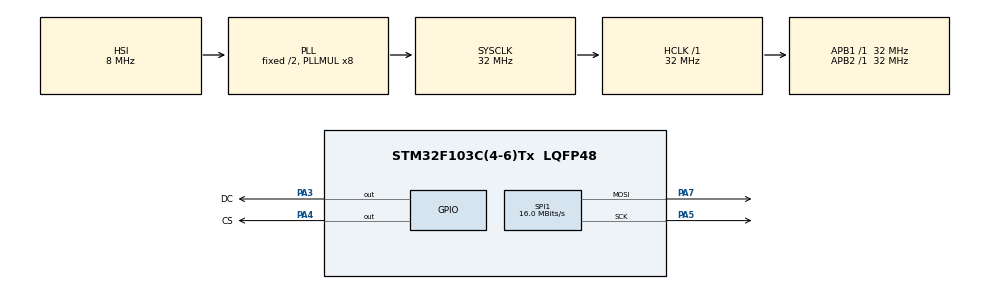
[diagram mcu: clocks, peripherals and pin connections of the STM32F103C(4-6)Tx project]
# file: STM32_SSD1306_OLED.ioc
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Mcu.Family=STM32F1
Mcu.Name=STM32F103C(4-6)Tx
Mcu.Package=LQFP48
NVIC.PriorityGroup=NVIC_PRIORITYGROUP_4
PA3.GPIO_Label=DC
PA3.Signal=GPIO_Output
PA4.GPIO_Label=CS
PA4.Signal=GPIO_Output
PA5.Mode=TX_Only_Simplex_Unidirect_Master
PA5.Signal=SPI1_SCK
PA7.Mode=TX_Only_Simplex_Unidirect_Master
PA7.Signal=SPI1_MOSI
ProjectManager.HeapSize=0x200
ProjectManager.StackSize=0x400
ProjectManager.TargetToolchain=STM32CubeIDE
RCC.AHBFreq_Value=32000000
RCC.APB1Freq_Value=32000000
RCC.APB1TimFreq_Value=32000000
RCC.APB2Freq_Value=32000000
RCC.APB2TimFreq_Value=32000000
RCC.HCLKFreq_Value=32000000
RCC.PLLMUL=RCC_PLL_MUL8
RCC.SYSCLKFreq_VALUE=32000000
RCC.SYSCLKSource=RCC_SYSCLKSOURCE_PLLCLK
RCC.USBFreq_Value=32000000
SPI1.CalculateBaudRate=16.0 MBits/s
SPI1.Direction=SPI_DIRECTION_2LINES
SPI1.Mode=SPI_MODE_MASTER
SPI1.VirtualType=VM_MASTER
VP_SYS_VS_ND.Mode=No_Debug
board=custom

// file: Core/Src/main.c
/* USER CODE BEGIN Header */
/**
  ******************************************************************************
  * @file           : main.c
  * @brief          : Main program body
  ******************************************************************************
  * @attention
  *
  * Copyright (c) 2024 STMicroelectronics.
  * All rights reserved.
  *
  * This software is licensed under terms that can be found in the LICENSE file
  * in the root directory of this software component.
  * If no LICENSE file comes with this software, it is provided AS-IS.
  *
  ******************************************************************************
  */
/* USER CODE END Header */
#include "main.h"

/* USER CODE BEGIN Includes */
#include "main.h"
#include "oled.h"
#include "test.h"
#include "horse_anim.h"
#include "stdio.h"
/* USER CODE END Includes */

SPI_HandleTypeDef hspi1;

void SystemClock_Config(void);
static void MX_GPIO_Init(void);
static void MX_SPI1_Init(void);

int main(void)
{

  /* USER CODE BEGIN 1 */
  char str[10];
  /* USER CODE END 1 */

  /* MCU Configuration--------------------------------------------------------*/

  /* Reset of all peripherals, Initializes the Flash interface and the Systick. */
  HAL_Init();

  /* Configure the system clock */
  SystemClock_Config();

  /* Initialize all configured peripherals */
  MX_GPIO_Init();
  MX_SPI1_Init();
  /* USER CODE BEGIN 2 */
  SSD1306_Init();

      SSD1306_GotoXY (0,0);
      SSD1306_Puts ("THE Embedded", &Font_7x10, 1);

      SSD1306_GotoXY (0, 10);
      SSD1306_Puts ("THINGS", &Font_7x10, 1);

      SSD1306_GotoXY (0, 30);
      SSD1306_Puts ("OLED Display", &Font_7x10, 1);

      SSD1306_GotoXY (0, 50);
      SSD1306_Puts ("LIKE && SUBSCRIBE", &Font_7x10, 1);
      SSD1306_UpdateScreen(); //display
      HAL_Delay(2000);

      SSD1306_ScrollRight(0,7);  // scroll entire screen
      HAL_Delay(2000);  // 2 sec
      SSD1306_ScrollLeft(0,7);  // scroll entire screen
      HAL_Delay(2000);  // 2 sec
      SSD1306_Stopscroll();
      SSD1306_ScrollRight(0x00, 0x0f);    // scroll entire screen right
      HAL_Delay (2000);
      SSD1306_ScrollLeft(0x00, 0x0f);  // scroll entire screen left
      HAL_Delay (2000);
      SSD1306_Scrolldiagright(0x00, 0x0f);  // scroll entire screen diagonal right
      HAL_Delay (2000);
      SSD1306_Scrolldiagleft(0x00, 0x0f);  // scroll entire screen diagonal left
      HAL_Delay (2000);
      SSD1306_Stopscroll();   // stop scrolling.

      SSD1306_InvertDisplay(1);   // invert the display
      HAL_Delay(2000);
      SSD1306_InvertDisplay(0);  // normalize the display
      HAL_Delay(2000);
      SSD1306_Clear();

          SSD1306_GotoXY (0,0);
      SSD1306_Puts ("count to 99", &Font_7x10, 1);
      SSD1306_UpdateScreen();

      for (int i=0; i<100;i++)
      {
      sprintf(str,"%i",i);
      SSD1306_GotoXY (10, 30);
      SSD1306_Puts (str, &Font_7x10, 1);
      SSD1306_UpdateScreen();
      HAL_Delay(100);
      }

      TestLines(1);
      HAL_Delay(500);
      SSD1306_Clear();

      TestRectangles(1);
      HAL_Delay(500);
      SSD1306_Clear();

      TestFilledRectangles(1);
      HAL_Delay(500);
      SSD1306_Clear();

      TestFilledCircles(10,1);
      HAL_Delay(500);
      SSD1306_Clear();

      TestCircles(10,1);
      HAL_Delay(500);
      SSD1306_Clear();

      TestTriangles(1);
      HAL_Delay(100);
      SSD1306_Clear();

  /* USER CODE END 2 */

  /* Infinite loop */
  while (1)
  {

    /* USER CODE BEGIN 3 */
    SSD1306_Clear();
      SSD1306_DrawBitmap(0,0,horse1,128,64,1);
      SSD1306_UpdateScreen();
      HAL_Delay(1);

      SSD1306_Clear();
      SSD1306_DrawBitmap(0,0,horse2,128,64,1);
      SSD1306_UpdateScreen();
      HAL_Delay(1);

      SSD1306_Clear();
      SSD1306_DrawBitmap(0,0,horse3,128,64,1);
      SSD1306_UpdateScreen();
      HAL_Delay(1);

      SSD1306_Clear();
      SSD1306_DrawBitmap(0,0,horse4,128,64,1);
      SSD1306_UpdateScreen();
      HAL_Delay(1);

      SSD1306_Clear();
      SSD1306_DrawBitmap(0,0,horse5,128,64,1);
      SSD1306_UpdateScreen();
      HAL_Delay(1);

      SSD1306_Clear();
      SSD1306_DrawBitmap(0,0,horse6,128,64,1);
      SSD1306_UpdateScreen();
      HAL_Delay(1);

      SSD1306_Clear();
      SSD1306_DrawBitmap(0,0,horse7,128,64,1);
      SSD1306_UpdateScreen();
      HAL_Delay(1);

      SSD1306_Clear();
      SSD1306_DrawBitmap(0,0,horse8,128,64,1);
      SSD1306_UpdateScreen();
      HAL_Delay(1);

      SSD1306_Clear();
      SSD1306_DrawBitmap(0,0,horse9,128,64,1);
      SSD1306_UpdateScreen();
      HAL_Delay(1);

      SSD1306_Clear();
      SSD1306_DrawBitmap(0,0,horse10,128,64,1);
      SSD1306_UpdateScreen();
      HAL_Delay(1);
  }
  /* USER CODE END 3 */
}

void SystemClock_Config(void)
{
  RCC_OscInitTypeDef RCC_OscInitStruct = {0};
  RCC_ClkInitTypeDef RCC_ClkInitStruct = {0};

  /** Initializes the RCC Oscillators according to the specified parameters
  * in the RCC_OscInitTypeDef structure.
  */
  RCC_OscInitStruct.OscillatorType = RCC_OSCILLATORTYPE_HSI;
  RCC_OscInitStruct.HSIState = RCC_HSI_ON;
  RCC_OscInitStruct.HSICalibrationValue = RCC_HSICALIBRATION_DEFAULT;
  RCC_OscInitStruct.PLL.PLLState = RCC_PLL_ON;
  RCC_OscInitStruct.PLL.PLLSource = RCC_PLLSOURCE_HSI_DIV2;
  RCC_OscInitStruct.PLL.PLLMUL = RCC_PLL_MUL8;
  if (HAL_RCC_OscConfig(&RCC_OscInitStruct) != HAL_OK)
  {
    Error_Handler();
  }

  /** Initializes the CPU, AHB and APB buses clocks
  */
  RCC_ClkInitStruct.ClockType = RCC_CLOCKTYPE_HCLK|RCC_CLOCKTYPE_SYSCLK
                              |RCC_CLOCKTYPE_PCLK1|RCC_CLOCKTYPE_PCLK2;
  RCC_ClkInitStruct.SYSCLKSource = RCC_SYSCLKSOURCE_PLLCLK;
  RCC_ClkInitStruct.AHBCLKDivider = RCC_SYSCLK_DIV1;
  RCC_ClkInitStruct.APB1CLKDivider = RCC_HCLK_DIV1;
  RCC_ClkInitStruct.APB2CLKDivider = RCC_HCLK_DIV1;

  if (HAL_RCC_ClockConfig(&RCC_ClkInitStruct, FLASH_LATENCY_1) != HAL_OK)
  {
    Error_Handler();
  }
}

static void MX_SPI1_Init(void)
{

  /* SPI1 parameter configuration*/
  hspi1.Instance = SPI1;
  hspi1.Init.Mode = SPI_MODE_MASTER;
  hspi1.Init.Direction = SPI_DIRECTION_2LINES;
  hspi1.Init.DataSize = SPI_DATASIZE_8BIT;
  hspi1.Init.CLKPolarity = SPI_POLARITY_LOW;
  hspi1.Init.CLKPhase = SPI_PHASE_1EDGE;
  hspi1.Init.NSS = SPI_NSS_SOFT;
  hspi1.Init.BaudRatePrescaler = SPI_BAUDRATEPRESCALER_2;
  hspi1.Init.FirstBit = SPI_FIRSTBIT_MSB;
  hspi1.Init.TIMode = SPI_TIMODE_DISABLE;
  hspi1.Init.CRCCalculation = SPI_CRCCALCULATION_DISABLE;
  hspi1.Init.CRCPolynomial = 10;
  if (HAL_SPI_Init(&hspi1) != HAL_OK)
  {
    Error_Handler();
  }

}

static void MX_GPIO_Init(void)
{
  GPIO_InitTypeDef GPIO_InitStruct = {0};

  /* GPIO Ports Clock Enable */
  __HAL_RCC_GPIOA_CLK_ENABLE();

  /*Configure GPIO pin Output Level */
  HAL_GPIO_WritePin(GPIOA, DC_Pin|CS_Pin, GPIO_PIN_RESET);

  /*Configure GPIO pins : DC_Pin CS_Pin */
  GPIO_InitStruct.Pin = DC_Pin|CS_Pin;
  GPIO_InitStruct.Mode = GPIO_MODE_OUTPUT_PP;
  GPIO_InitStruct.Pull = GPIO_NOPULL;
  GPIO_InitStruct.Speed = GPIO_SPEED_FREQ_LOW;
  HAL_GPIO_Init(GPIOA, &GPIO_InitStruct);

}

void Error_Handler(void)
{
  __disable_irq();
  while (1)
  {
  }
}
